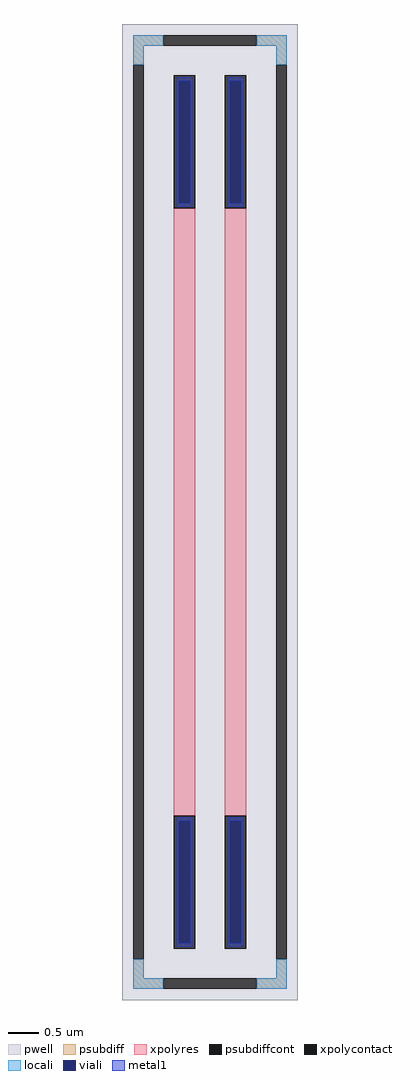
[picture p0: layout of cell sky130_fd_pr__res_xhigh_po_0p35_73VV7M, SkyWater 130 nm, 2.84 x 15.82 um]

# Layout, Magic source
magic
tech sky130A
magscale 1 2
<< pwell >>
rect -284 -1582 284 1582
<< psubdiff >>
rect -248 1512 -152 1546
rect 152 1512 248 1546
rect -248 1450 -214 1512
rect 214 1450 248 1512
rect -248 -1512 -214 -1450
rect 214 -1512 248 -1450
rect -248 -1546 -152 -1512
rect 152 -1546 248 -1512
<< psubdiffcont >>
rect -152 1512 152 1546
rect -248 -1450 -214 1450
rect 214 -1450 248 1450
rect -152 -1546 152 -1512
<< xpolycontact >>
rect -118 984 -48 1416
rect -118 -1416 -48 -984
rect 48 984 118 1416
rect 48 -1416 118 -984
<< xpolyres >>
rect -118 -984 -48 984
rect 48 -984 118 984
<< locali >>
rect -248 1512 -152 1546
rect 152 1512 248 1546
rect -248 1450 -214 1512
rect 214 1450 248 1512
rect -248 -1512 -214 -1450
rect 214 -1512 248 -1450
rect -248 -1546 -152 -1512
rect 152 -1546 248 -1512
<< viali >>
rect -102 1001 -64 1398
rect 64 1001 102 1398
rect -102 -1398 -64 -1001
rect 64 -1398 102 -1001
<< metal1 >>
rect -108 1398 -58 1410
rect -108 1001 -102 1398
rect -64 1001 -58 1398
rect -108 989 -58 1001
rect 58 1398 108 1410
rect 58 1001 64 1398
rect 102 1001 108 1398
rect 58 989 108 1001
rect -108 -1001 -58 -989
rect -108 -1398 -102 -1001
rect -64 -1398 -58 -1001
rect -108 -1410 -58 -1398
rect 58 -1001 108 -989
rect 58 -1398 64 -1001
rect 102 -1398 108 -1001
rect 58 -1410 108 -1398
<< properties >>
string FIXED_BBOX -231 -1529 231 1529
string gencell sky130_fd_pr__res_xhigh_po_0p35
string library sky130
string parameters w 0.350 l 10 m 1 nx 2 wmin 0.350 lmin 0.50 rho 2000 val 58.218k dummy 0 dw 0.0 term 188.2 sterm 0.0 caplen 0 wmax 0.350 guard 1 glc 1 grc 1 gtc 1 gbc 1 compatible {sky130_fd_pr__res_xhigh_po_0p35  sky130_fd_pr__res_xhigh_po_0p69 sky130_fd_pr__res_xhigh_po_1p41  sky130_fd_pr__res_xhigh_po_2p85 sky130_fd_pr__res_xhigh_po_5p73} snake 0 full_metal 1 n_guard 0 hv_guard 0 vias 1 viagb 0 viagt 0 viagl 0 viagr 0
<< end >>
